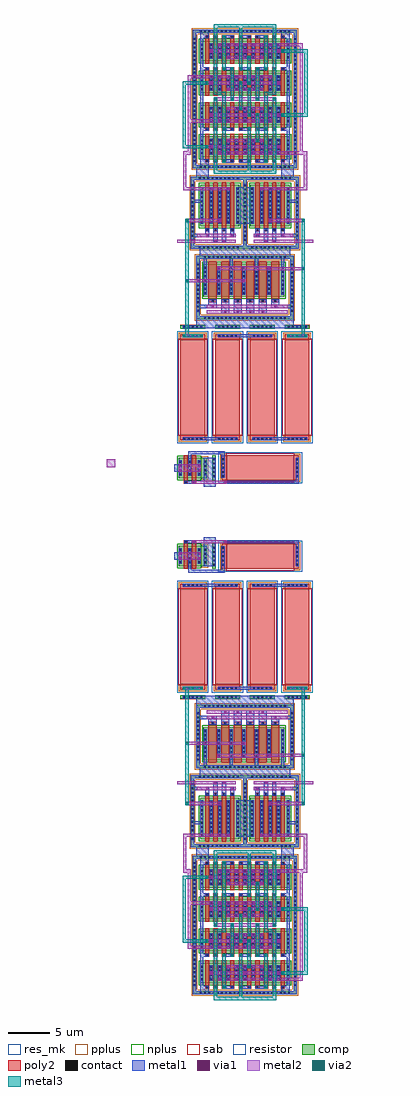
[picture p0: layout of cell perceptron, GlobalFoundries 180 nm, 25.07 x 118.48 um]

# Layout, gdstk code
from math import pi, radians
import gdstk
lib = gdstk.Library(unit=1e-6, precision=5e-09)
def R(c, l, rs):  # rectangles x0, y0, x1, y1
    for r in rs: c.add(gdstk.rectangle(r[:2], r[2:], *l))
def A(c, l, x, y, w, h, nx, ny, dx, dy):  # array of equal rectangles
    R(c, l, [(x+i*dx, y+j*dy, x+i*dx+w, y+j*dy+h) for i in range(nx) for j in range(ny)])
def P(c, l, *ps):  # polygons
    for p in ps: c.add(gdstk.Polygon(p, *l))
comp = (22, 0)
poly2 = (30, 0)
pplus = (31, 0)
nplus = (32, 0)
contact = (33, 0)
metal1 = (34, 0)
via1 = (35, 0)
metal2 = (36, 0)
via2 = (38, 0)
metal3 = (42, 0)
sab = (49, 0)
resistor = (62, 0)
res_mk = (110, 5)

ppolyf_u_high_rs_resisto = lib.new_cell('ppolyf_u_high_Rs_resistor')
R(ppolyf_u_high_rs_resisto, comp, [(-1.76,0,-1.34,3)])
R(ppolyf_u_high_rs_resisto, poly2, [(-0.64,0,8.74,3)])
R(ppolyf_u_high_rs_resisto, pplus, [(-0.82,-0.18,0,3.18), (8.1,-0.18,8.92,3.18), (-1.78,-0.02,-1.32,3.02)])
A(ppolyf_u_high_rs_resisto, contact, -1.66, 0.37, 0.22, 0.22, 1, 5, 0, 0.51)
A(ppolyf_u_high_rs_resisto, contact, -0.57, 0.37, 0.22, 0.22, 1, 5, 0, 0.51)
A(ppolyf_u_high_rs_resisto, contact, 8.45, 0.37, 0.22, 0.22, 1, 5, 0, 0.51)
R(ppolyf_u_high_rs_resisto, metal1, [(-1.74,0.29,-1.36,2.71), (-0.65,0.29,-0.27,2.71), (8.37,0.29,8.75,2.71)])
R(ppolyf_u_high_rs_resisto, sab, [(-0.1,-0.28,8.2,3.28)])
R(ppolyf_u_high_rs_resisto, resistor, [(-1.04,-0.4,9.14,3.4)])
R(ppolyf_u_high_rs_resisto, res_mk, [(0,0,8.1,3)])

nfet = lib.new_cell('nfet')
R(nfet, comp, [(-0.42,0,0,2.5), (0,0,1.9,2.5), (1.9,0,2.32,2.5), (2.32,0,3.03,2.5)])
R(nfet, poly2, [(0.19,-0.66,0.69,-0.3), (1.21,-0.66,1.71,-0.3), (0.19,-0.3,0.69,2.8), (1.21,-0.3,1.71,2.8)])
R(nfet, pplus, [(2.32,-0.17,3.2,2.67)])
R(nfet, nplus, [(-0.59,-0.24,2.32,2.74)])
A(nfet, contact, -0.32, 0.375, 0.22, 0.22, 3, 4, 1.16, 0.51)
A(nfet, contact, 2.71, 0.375, 0.22, 0.22, 1, 4, 0, 0.51)
R(nfet, contact, [(0.33,-0.59,0.55,-0.37), (1.35,-0.59,1.57,-0.37)])
A(nfet, metal1, -0.4, 0.295, 0.38, 1.91, 3, 1, 1.16, 0)
R(nfet, metal1, [(0.25,-0.67,0.63,-0.29), (1.27,-0.67,1.65,-0.29), (2.63,0.295,3.01,2.205)])

cg_amp_tia = lib.new_cell('cg_amp_tia')
R(cg_amp_tia, metal1, [(4.52,1.5,5.97,5.03), (2.14,1.865,3.54,2.245), (0.92,3.32,1.87,4.23)])
R(cg_amp_tia, via1, [(3.22,1.93,3.48,2.19), (7,1.93,7.26,2.19), (1.55,3.4,1.81,3.66), (3.87,3.4,4.13,3.66), (1.55,3.92,1.81,4.18), (3.87,3.92,4.13,4.18)])
R(cg_amp_tia, metal2, [(3.16,1.86,7.32,2.245), (1.49,3.32,4.19,4.23)])
cg_amp_tia.add(gdstk.FlexPath([(6.87,5.03),(6.87,5.63),(2.84,5.63),(2.84,4.74)], 0.38, ends="flush", simple_path=True, layer=34, datatype=0))  # metal1
cg_amp_tia.add(gdstk.FlexPath([(15.89,2.61),(15.89,2.05),(6.91,2.05)], 0.38, ends="flush", simple_path=True, layer=34, datatype=0))  # metal1
cg_amp_tia.add(gdstk.Reference(ppolyf_u_high_rs_resisto, (7.33,2.32)))
cg_amp_tia.add(gdstk.Reference(nfet, (1.89,2.535)))
cg_amp_tia.add(gdstk.Label('VSS', (5.25,1.64), layer=34, texttype=10))
cg_amp_tia.add(gdstk.Label('V_ref', (15.89,2.05), layer=34, texttype=10))
cg_amp_tia.add(gdstk.Label('V_out', (4.74,5.63), layer=34, texttype=10))
cg_amp_tia.add(gdstk.Label('I_in', (1.03,3.77), layer=34, texttype=10))

c_ppolyf_u_high_rs_resisto = lib.new_cell('ppolyf_u_high_Rs_resistor$1')
R(c_ppolyf_u_high_rs_resisto, comp, [(-1.76,0,-1.34,3)])
R(c_ppolyf_u_high_rs_resisto, poly2, [(-0.64,0,12.19,3)])
R(c_ppolyf_u_high_rs_resisto, pplus, [(-0.82,-0.18,0,3.18), (11.55,-0.18,12.37,3.18), (-1.78,-0.02,-1.32,3.02)])
A(c_ppolyf_u_high_rs_resisto, contact, -1.66, 0.37, 0.22, 0.22, 1, 5, 0, 0.51)
A(c_ppolyf_u_high_rs_resisto, contact, -0.57, 0.37, 0.22, 0.22, 1, 5, 0, 0.51)
A(c_ppolyf_u_high_rs_resisto, contact, 11.9, 0.37, 0.22, 0.22, 1, 5, 0, 0.51)
R(c_ppolyf_u_high_rs_resisto, metal1, [(-1.74,0.29,-1.36,2.71), (-0.65,0.29,-0.27,2.71), (11.82,0.29,12.2,2.71)])
R(c_ppolyf_u_high_rs_resisto, sab, [(-0.1,-0.28,11.65,3.28)])
R(c_ppolyf_u_high_rs_resisto, resistor, [(-1.04,-0.4,12.59,3.4)])
R(c_ppolyf_u_high_rs_resisto, res_mk, [(0,0,11.55,3)])

via_dev = lib.new_cell('via_dev')
R(via_dev, metal1, [(0,0,0.4,0.4)])
R(via_dev, via1, [(0.07,0.07,0.33,0.33)])
R(via_dev, metal2, [(0,0,0.4,0.4)])
R(via_dev, via2, [(0.07,0.07,0.33,0.33)])
R(via_dev, metal3, [(0,0,0.4,0.4)])

nfet_1 = lib.new_cell('nfet$1')
R(nfet_1, comp, [(-0.42,0,0,5), (0,0,3.94,5), (3.94,0,4.36,5)])
P(nfet_1, comp, [(-1.28,-2.74),(-1.28,5.61),(-0.9,5.61),(-0.9,-2.36),(5.09,-2.36),(5.09,5.61),(-1.28,5.61),(-1.28,5.99),(5.47,5.99),(5.47,-2.74)])
A(nfet_1, poly2, 0.19, -0.66, 0.5, 0.36, 4, 1, 1.02, 0)
A(nfet_1, poly2, 0.19, -0.3, 0.5, 5.6, 4, 1, 1.02, 0)
P(nfet_1, pplus, [(-1.45,-2.91),(-1.45,5.44),(-0.73,5.44),(-0.73,-2.19),(4.92,-2.19),(4.92,5.44),(-1.45,5.44),(-1.45,6.16),(5.64,6.16),(5.64,-2.91)])
R(nfet_1, nplus, [(-0.59,-0.24,4.53,5.24)])
A(nfet_1, contact, -0.31, -2.66, 0.22, 0.22, 10, 2, 0.51, 8.35)
A(nfet_1, contact, -1.2, -1.8, 0.22, 0.22, 1, 14, 0, 0.51)
A(nfet_1, contact, 5.17, -1.8, 0.22, 0.22, 1, 14, 0, 0.51)
A(nfet_1, contact, 0.33, -0.59, 0.22, 0.22, 4, 1, 1.02, 0)
A(nfet_1, contact, -0.32, 0.35, 0.22, 0.22, 1, 9, 0, 0.51)
A(nfet_1, contact, 0.84, 0.35, 0.22, 0.22, 3, 9, 1.02, 0.51)
A(nfet_1, contact, 4.04, 0.35, 0.22, 0.22, 1, 9, 0, 0.51)
A(nfet_1, metal1, 0.25, -0.67, 0.38, 0.38, 4, 1, 1.02, 0)
A(nfet_1, metal1, 0.76, 0.27, 0.38, 4.46, 3, 1, 1.02, 0)
R(nfet_1, metal1, [(1.21,-2.05,1.71,-0.29), (2.23,-2.05,2.73,-0.29), (0.19,-1.36,0.69,-0.29), (3.25,-1.36,3.75,-0.29), (-0.4,0.27,-0.02,4.73), (3.96,0.27,4.34,4.73)])
R(nfet_1, via1, [(1.33,-1.98,1.59,-1.72), (2.35,-1.98,2.61,-1.72), (0.31,-1.29,0.57,-1.03), (3.37,-1.29,3.63,-1.03)])
R(nfet_1, metal2, [(0,-2.05,4.78,-1.65), (0,-1.36,4.78,-0.96)])

nfet_2 = lib.new_cell('nfet$2')
R(nfet_2, comp, [(-0.42,0,0,4), (0,0,8.98,4), (8.98,0,9.4,4)])
P(nfet_2, comp, [(-1.28,-2.74),(-1.28,4.61),(-0.9,4.61),(-0.9,-2.36),(10.13,-2.36),(10.13,4.61),(-1.28,4.61),(-1.28,4.99),(10.51,4.99),(10.51,-2.74)])
A(nfet_2, poly2, 0.19, -0.66, 1, 0.36, 6, 1, 1.52, 0)
A(nfet_2, poly2, 0.19, -0.3, 1, 4.6, 6, 1, 1.52, 0)
P(nfet_2, pplus, [(-1.45,-2.91),(-1.45,4.44),(-0.73,4.44),(-0.73,-2.19),(9.96,-2.19),(9.96,4.44),(-1.45,4.44),(-1.45,5.16),(10.68,5.16),(10.68,-2.91)])
R(nfet_2, nplus, [(-0.59,-0.24,9.57,4.24)])
A(nfet_2, contact, -0.34, -2.66, 0.22, 0.22, 20, 2, 0.51, 7.35)
A(nfet_2, contact, -1.2, -1.79, 0.22, 0.22, 1, 12, 0, 0.51)
A(nfet_2, contact, 10.21, -1.79, 0.22, 0.22, 1, 12, 0, 0.51)
A(nfet_2, contact, 0.58, -0.59, 0.22, 0.22, 6, 1, 1.52, 0)
A(nfet_2, contact, -0.32, 0.36, 0.22, 0.22, 1, 7, 0, 0.51)
A(nfet_2, contact, 1.34, 0.36, 0.22, 0.22, 5, 7, 1.52, 0.51)
A(nfet_2, contact, 9.08, 0.36, 0.22, 0.22, 1, 7, 0, 0.51)
A(nfet_2, metal1, 1.71, -2.05, 1, 1.76, 4, 1, 1.52, 0)
A(nfet_2, metal1, 0.5, -0.67, 0.38, 0.38, 6, 1, 1.52, 0)
A(nfet_2, metal1, 1.26, 0.28, 0.38, 3.44, 5, 1, 1.52, 0)
R(nfet_2, metal1, [(0.19,-1.36,1.19,-0.29), (7.79,-1.36,8.79,-0.29), (-0.4,0.28,-0.02,3.72), (9,0.28,9.38,3.72)])
A(nfet_2, via1, 2.08, -1.98, 0.26, 0.26, 4, 1, 1.52, 0)
R(nfet_2, via1, [(0.56,-1.29,0.82,-1.03), (8.16,-1.29,8.42,-1.03)])
R(nfet_2, metal2, [(0,-2.05,9.82,-1.65), (0,-1.36,9.82,-0.96)])

gilbert_multiplier_curre = lib.new_cell('gilbert_multiplier_current')
A(gilbert_multiplier_curre, comp, 8.68, 36.7, 0.42, 2.5, 1, 4, 0, 3.87)
A(gilbert_multiplier_curre, comp, 9.1, 36.7, 10.06, 2.5, 1, 4, 0, 3.87)
A(gilbert_multiplier_curre, comp, 19.16, 36.7, 0.42, 2.5, 1, 4, 0, 3.87)
P(gilbert_multiplier_curre, comp, [(7.82,35.31),(7.82,51.785),(8.2,51.785),(8.2,35.69),(20.06,35.69),(20.06,51.785),(7.82,51.785),(7.82,52.165),(20.44,52.165),(20.44,35.31)])
A(gilbert_multiplier_curre, poly2, 9.29, 36.04, 0.5, 0.36, 10, 2, 1.02, 3.87)
A(gilbert_multiplier_curre, poly2, 9.29, 36.4, 0.5, 3.1, 10, 4, 1.02, 3.87)
A(gilbert_multiplier_curre, poly2, 9.29, 47.24, 0.5, 0.36, 10, 2, 1.02, 3.87)
P(gilbert_multiplier_curre, pplus, [(7.65,35.14),(7.65,51.615),(8.37,51.615),(8.37,35.86),(19.89,35.86),(19.89,51.615),(7.65,51.615),(7.65,52.335),(20.61,52.335),(20.61,35.14)])
A(gilbert_multiplier_curre, nplus, 8.51, 36.46, 11.24, 2.98, 1, 4, 0, 3.87)
A(gilbert_multiplier_curre, contact, 8.665, 35.39, 0.22, 0.22, 22, 2, 0.51, 16.475)
A(gilbert_multiplier_curre, contact, 7.9, 36.1, 0.22, 0.22, 1, 23, 0, 0.51)
A(gilbert_multiplier_curre, contact, 20.14, 36.1, 0.22, 0.22, 1, 23, 0, 0.51)
A(gilbert_multiplier_curre, contact, 9.43, 36.11, 0.22, 0.22, 10, 2, 1.02, 3.87)
A(gilbert_multiplier_curre, contact, 8.78, 37.075, 0.22, 0.22, 1, 4, 0, 0.51)
A(gilbert_multiplier_curre, contact, 9.94, 37.075, 0.22, 0.22, 9, 4, 1.02, 0.51)
A(gilbert_multiplier_curre, contact, 19.26, 37.075, 0.22, 0.22, 1, 4, 0, 0.51)
A(gilbert_multiplier_curre, contact, 8.78, 40.945, 0.22, 0.22, 1, 4, 0, 0.51)
A(gilbert_multiplier_curre, contact, 9.94, 40.945, 0.22, 0.22, 9, 4, 1.02, 0.51)
A(gilbert_multiplier_curre, contact, 19.26, 40.945, 0.22, 0.22, 1, 4, 0, 0.51)
A(gilbert_multiplier_curre, contact, 8.78, 44.815, 0.22, 0.22, 1, 4, 0, 0.51)
A(gilbert_multiplier_curre, contact, 9.94, 44.815, 0.22, 0.22, 9, 4, 1.02, 0.51)
A(gilbert_multiplier_curre, contact, 19.26, 44.815, 0.22, 0.22, 1, 4, 0, 0.51)
A(gilbert_multiplier_curre, contact, 9.43, 47.31, 0.22, 0.22, 10, 2, 1.02, 3.87)
A(gilbert_multiplier_curre, contact, 7.9, 47.85, 0.22, 0.22, 1, 7, 0, 0.51)
A(gilbert_multiplier_curre, contact, 20.14, 47.85, 0.22, 0.22, 1, 7, 0, 0.51)
A(gilbert_multiplier_curre, contact, 8.78, 48.685, 0.22, 0.22, 1, 4, 0, 0.51)
A(gilbert_multiplier_curre, contact, 9.94, 48.685, 0.22, 0.22, 9, 4, 1.02, 0.51)
A(gilbert_multiplier_curre, contact, 19.26, 48.685, 0.22, 0.22, 1, 4, 0, 0.51)
A(gilbert_multiplier_curre, metal1, 9.35, 36.03, 0.38, 0.38, 10, 2, 1.02, 3.87)
A(gilbert_multiplier_curre, metal1, 8.7, 36.995, 0.38, 1.91, 1, 4, 0, 3.87)
A(gilbert_multiplier_curre, metal1, 9.86, 36.995, 0.38, 1.91, 9, 4, 1.02, 3.87)
A(gilbert_multiplier_curre, metal1, 19.18, 36.995, 0.38, 1.91, 1, 4, 0, 3.87)
A(gilbert_multiplier_curre, metal1, 9.35, 47.23, 0.38, 0.38, 10, 2, 1.02, 3.87)
R(gilbert_multiplier_curre, metal1, [(6.59,2.33,13.23,2.71), (15.03,2.33,21.67,2.71), (10.81,14.8,17.45,15.18), (6.59,15.89,21.67,16.27), (8.235,15.89,20.025,17.36), (8.615,24.33,19.645,25.96), (13.06,28.59,15.2,33.05), (8.2,33.93,9.73,35.69), (18.53,33.93,20.06,35.69), (8.7,35.31,9.73,36.41), (18.53,35.31,19.56,36.41), (8.7,51.1,9.73,52.165), (18.53,51.1,19.56,52.165)])
A(gilbert_multiplier_curre, via1, 6.65, 14.86, 0.26, 0.26, 3, 1, 1.02, 0)
A(gilbert_multiplier_curre, via1, 19.31, 14.86, 0.26, 0.26, 3, 1, 1.02, 0)
A(gilbert_multiplier_curre, via1, 10.94, 37.055, 0.26, 0.26, 4, 2, 2.04, 3.865)
A(gilbert_multiplier_curre, via1, 9.92, 37.82, 0.26, 0.26, 3, 2, 4.08, 3.865)
A(gilbert_multiplier_curre, via1, 9.92, 45.56, 0.26, 0.26, 3, 2, 4.08, 3.87)
A(gilbert_multiplier_curre, via1, 10.94, 46.325, 0.26, 0.26, 4, 2, 2.04, 3.87)
R(gilbert_multiplier_curre, via1, [(14.13,21.56,14.39,21.82), (11.08,23.03,11.34,23.29), (17.17,23.03,17.43,23.29), (10.94,28.86,11.2,29.12), (17.05,28.86,17.31,29.12), (9.92,32.73,10.18,32.99), (11.96,32.73,12.22,32.99), (16.04,32.73,16.3,32.99), (18.08,32.73,18.34,32.99), (11.96,38.58,12.22,38.84), (16.04,38.58,16.3,38.84), (11.96,42.445,12.22,42.705), (16.04,42.445,16.3,42.705), (11.96,44.8,12.22,45.06), (16.04,44.8,16.3,45.06), (11.96,48.67,12.22,48.93), (16.04,48.67,16.3,48.93)])
R(gilbert_multiplier_curre, metal2, [(6.59,14.8,9.01,15.18), (19.25,14.8,21.67,15.18), (11.025,22.93,17.485,23.44), (9.86,32.65,12.28,33.05), (15.98,32.65,18.4,33.05)])
A(gilbert_multiplier_curre, via2, 6.65, 14.86, 0.26, 0.26, 3, 1, 1.02, 0)
A(gilbert_multiplier_curre, via2, 19.31, 14.86, 0.26, 0.26, 3, 1, 1.02, 0)
R(gilbert_multiplier_curre, via2, [(21.04,21.55,21.3,21.81), (6.915,23.02,7.175,23.28), (6.915,28.86,7.175,29.12), (21.04,28.86,21.3,29.12), (18.63,37.82,18.89,38.08), (12.47,38.59,12.73,38.85), (9.39,41.68,9.65,41.94), (12.47,41.7,12.73,41.96), (13.48,41.7,13.74,41.96), (14.5,42.46,14.76,42.72), (10.45,43.61,10.71,43.87), (12.47,43.61,12.73,43.87), (15.53,43.61,15.79,43.87), (17.57,43.61,17.83,43.87), (13.48,44.8,13.74,45.06), (14.5,45.56,14.76,45.82), (13.49,45.57,13.75,45.83), (18.63,45.57,18.89,45.83), (13.49,48.67,13.75,48.93), (9.39,49.43,9.65,49.69)])
R(gilbert_multiplier_curre, metal3, [(6.59,14.8,9.01,15.18), (19.25,14.8,21.67,15.18)])
gilbert_multiplier_curre.add(gdstk.FlexPath([(9.35,36.22),(8.89,36.22),(8.89,51.29),(9.35,51.29),(9.35,51.29)], 0.38, ends="flush", simple_path=True, layer=34, datatype=0))  # metal1
gilbert_multiplier_curre.add(gdstk.FlexPath([(18.91,36.22),(19.37,36.22),(19.37,51.29),(18.91,51.29)], 0.38, ends="flush", simple_path=True, layer=34, datatype=0))  # metal1
gilbert_multiplier_curre.add(gdstk.FlexPath([(9.73,47.42),(8.7,47.42)], 0.38, ends="flush", simple_path=True, layer=34, datatype=0))  # metal1
gilbert_multiplier_curre.add(gdstk.FlexPath([(9.73,40.09),(8.7,40.09)], 0.38, ends="flush", simple_path=True, layer=34, datatype=0))  # metal1
gilbert_multiplier_curre.add(gdstk.FlexPath([(18.53,47.42),(19.56,47.42)], 0.38, ends="flush", simple_path=True, layer=34, datatype=0))  # metal1
gilbert_multiplier_curre.add(gdstk.FlexPath([(18.53,40.09),(19.56,40.09)], 0.38, ends="flush", simple_path=True, layer=34, datatype=0))  # metal1
gilbert_multiplier_curre.add(gdstk.FlexPath([(11.39,51.29),(12.79,51.29)], 0.38, ends="flush", simple_path=True, layer=34, datatype=0))  # metal1
gilbert_multiplier_curre.add(gdstk.FlexPath([(15.47,51.29),(16.87,51.29)], 0.38, ends="flush", simple_path=True, layer=34, datatype=0))  # metal1
gilbert_multiplier_curre.add(gdstk.FlexPath([(11.39,47.42),(12.79,47.42)], 0.38, ends="flush", simple_path=True, layer=34, datatype=0))  # metal1
gilbert_multiplier_curre.add(gdstk.FlexPath([(15.47,47.42),(16.87,47.42)], 0.38, ends="flush", simple_path=True, layer=34, datatype=0))  # metal1
gilbert_multiplier_curre.add(gdstk.FlexPath([(11.39,40.09),(12.79,40.09)], 0.38, ends="flush", simple_path=True, layer=34, datatype=0))  # metal1
gilbert_multiplier_curre.add(gdstk.FlexPath([(16.87,40.09),(15.47,40.09)], 0.38, ends="flush", simple_path=True, layer=34, datatype=0))  # metal1
gilbert_multiplier_curre.add(gdstk.FlexPath([(11.39,36.22),(12.79,36.22),(12.79,36.22)], 0.38, ends="flush", simple_path=True, layer=34, datatype=0))  # metal1
gilbert_multiplier_curre.add(gdstk.FlexPath([(13.43,36.22),(14.83,36.22)], 0.38, ends="flush", simple_path=True, layer=34, datatype=0))  # metal1
gilbert_multiplier_curre.add(gdstk.FlexPath([(15.47,36.22),(16.87,36.22)], 0.38, ends="flush", simple_path=True, layer=34, datatype=0))  # metal1
gilbert_multiplier_curre.add(gdstk.FlexPath([(13.43,40.09),(14.83,40.09)], 0.38, ends="flush", simple_path=True, layer=34, datatype=0))  # metal1
gilbert_multiplier_curre.add(gdstk.FlexPath([(13.43,47.42),(14.83,47.42)], 0.38, ends="flush", simple_path=True, layer=34, datatype=0))  # metal1
gilbert_multiplier_curre.add(gdstk.FlexPath([(13.43,51.29),(14.83,51.29)], 0.38, ends="flush", simple_path=True, layer=34, datatype=0))  # metal1
gilbert_multiplier_curre.add(gdstk.FlexPath([(8.665,51.975),(20.25,51.975),(20.25,35.5),(8.01,35.5),(8.01,51.975),(8.665,51.975)], 0.38, ends="flush", simple_path=True, layer=34, datatype=0))  # metal1
gilbert_multiplier_curre.add(gdstk.FlexPath([(14.13,33.93),(14.13,25.96)], 0.38, ends="flush", simple_path=True, layer=34, datatype=0))  # metal1
gilbert_multiplier_curre.add(gdstk.FlexPath([(7.76,33.37),(7.76,25.77),(20.5,25.77),(20.5,34.12),(7.76,34.12),(7.76,33.37)], 0.38, ends="flush", simple_path=True, layer=34, datatype=0))  # metal1
gilbert_multiplier_curre.add(gdstk.FlexPath([(9.79,27.16),(7.57,27.16)], 0.4, ends="flush", simple_path=True, layer=34, datatype=0))  # metal1
gilbert_multiplier_curre.add(gdstk.FlexPath([(18.47,27.16),(20.69,27.16)], 0.4, ends="flush", simple_path=True, layer=34, datatype=0))  # metal1
gilbert_multiplier_curre.add(gdstk.FlexPath([(8.7,31.33),(7.95,31.33)], 0.4, ends="flush", simple_path=True, layer=34, datatype=0))  # metal1
gilbert_multiplier_curre.add(gdstk.FlexPath([(19.56,31.33),(20.31,31.33)], 0.4, ends="flush", simple_path=True, layer=34, datatype=0))  # metal1
gilbert_multiplier_curre.add(gdstk.FlexPath([(18.955,23.44),(18.955,24.33)], 0.38, ends="flush", simple_path=True, layer=34, datatype=0))  # metal1
gilbert_multiplier_curre.add(gdstk.FlexPath([(9.555,23.44),(9.555,24.33)], 0.38, ends="flush", simple_path=True, layer=34, datatype=0))  # metal1
gilbert_multiplier_curre.add(gdstk.FlexPath([(15.775,23.44),(15.775,24.33)], 0.38, ends="flush", simple_path=True, layer=34, datatype=0))  # metal1
gilbert_multiplier_curre.add(gdstk.FlexPath([(12.735,23.44),(12.735,24.33)], 0.38, ends="flush", simple_path=True, layer=34, datatype=0))  # metal1
gilbert_multiplier_curre.add(gdstk.FlexPath([(10.955,18.56),(8.615,18.56)], 0.4, ends="flush", simple_path=True, layer=34, datatype=0))  # metal1
gilbert_multiplier_curre.add(gdstk.FlexPath([(8.425,17.93),(8.425,24.52),(19.835,24.52),(19.835,17.17),(9.175,17.17),(9.175,17.17),(8.425,17.17),(8.425,17.93)], 0.38, ends="flush", simple_path=True, layer=34, datatype=0))  # metal1
gilbert_multiplier_curre.add(gdstk.FlexPath([(20.025,18.56),(17.555,18.56)], 0.4, ends="flush", simple_path=True, layer=34, datatype=0))  # metal1
gilbert_multiplier_curre.add(gdstk.FlexPath([(10.88,50.32),(17.38,50.32)], 0.4, ends="flush", simple_path=True, layer=36, datatype=0))  # metal2
gilbert_multiplier_curre.add(gdstk.FlexPath([(9.29,49.56),(18.4,49.56)], 0.4, ends="flush", simple_path=True, layer=36, datatype=0))  # metal2
gilbert_multiplier_curre.add(gdstk.FlexPath([(11.9,48.8),(16.36,48.8)], 0.4, ends="flush", simple_path=True, layer=36, datatype=0))  # metal2
gilbert_multiplier_curre.add(gdstk.FlexPath([(10.88,46.45),(17.38,46.45)], 0.4, ends="flush", simple_path=True, layer=36, datatype=0))  # metal2
gilbert_multiplier_curre.add(gdstk.FlexPath([(9.86,45.69),(18.97,45.69)], 0.4, ends="flush", simple_path=True, layer=36, datatype=0))  # metal2
gilbert_multiplier_curre.add(gdstk.FlexPath([(11.9,44.93),(16.36,44.93)], 0.4, ends="flush", simple_path=True, layer=36, datatype=0))  # metal2
gilbert_multiplier_curre.add(gdstk.FlexPath([(9.86,37.95),(18.97,37.95)], 0.4, ends="flush", simple_path=True, layer=36, datatype=0))  # metal2
gilbert_multiplier_curre.add(gdstk.FlexPath([(11.9,38.71),(16.36,38.71)], 0.4, ends="flush", simple_path=True, layer=36, datatype=0))  # metal2
gilbert_multiplier_curre.add(gdstk.FlexPath([(10.88,41.06),(17.38,41.06)], 0.4, ends="flush", simple_path=True, layer=36, datatype=0))  # metal2
gilbert_multiplier_curre.add(gdstk.FlexPath([(9.29,41.82),(18.4,41.82)], 0.4, ends="flush", simple_path=True, layer=36, datatype=0))  # metal2
gilbert_multiplier_curre.add(gdstk.FlexPath([(11.9,42.58),(16.36,42.58)], 0.4, ends="flush", simple_path=True, layer=36, datatype=0))  # metal2
gilbert_multiplier_curre.add(gdstk.FlexPath([(17.38,46.45),(20.9,46.45),(20.9,41.06),(17.38,41.06)], 0.4, ends="flush", simple_path=True, layer=36, datatype=0))  # metal2
gilbert_multiplier_curre.add(gdstk.FlexPath([(10.88,50.32),(7.3,50.32),(7.3,37.19),(10.88,37.19)], 0.4, ends="flush", simple_path=True, layer=36, datatype=0))  # metal2
gilbert_multiplier_curre.add(gdstk.FlexPath([(10.36,43.74),(17.9,43.74)], 0.4, ends="flush", simple_path=True, layer=36, datatype=0))  # metal2
gilbert_multiplier_curre.add(gdstk.FlexPath([(10.88,37.19),(17.38,37.19)], 0.4, ends="flush", simple_path=True, layer=36, datatype=0))  # metal2
gilbert_multiplier_curre.add(gdstk.FlexPath([(20.9,40.86),(20.9,37)], 0.4, ends="flush", simple_path=True, layer=36, datatype=0))  # metal2
gilbert_multiplier_curre.add(gdstk.FlexPath([(18.4,32.85),(21.44,32.85),(21.44,37.2),(21.1,37.2)], 0.4, ends="flush", simple_path=True, layer=36, datatype=0))  # metal2
gilbert_multiplier_curre.add(gdstk.FlexPath([(9.86,32.85),(6.79,32.85),(6.79,37.19),(7.1,37.19)], 0.4, ends="flush", simple_path=True, layer=36, datatype=0))  # metal2
gilbert_multiplier_curre.add(gdstk.FlexPath([(11.025,23.15),(6.85,23.15)], 0.4, ends="flush", simple_path=True, layer=36, datatype=0))  # metal2
gilbert_multiplier_curre.add(gdstk.FlexPath([(14.065,21.69),(21.37,21.69)], 0.4, ends="flush", simple_path=True, layer=36, datatype=0))  # metal2
gilbert_multiplier_curre.add(gdstk.FlexPath([(11.26,28.99),(6.85,28.99)], 0.4, ends="flush", simple_path=True, layer=36, datatype=0))  # metal2
gilbert_multiplier_curre.add(gdstk.FlexPath([(17,28.99),(21.37,28.99)], 0.4, ends="flush", simple_path=True, layer=36, datatype=0))  # metal2
gilbert_multiplier_curre.add(gdstk.FlexPath([(8.26,26.47),(5.84,26.47)], 0.4, ends="flush", simple_path=True, layer=36, datatype=0))  # metal2
gilbert_multiplier_curre.add(gdstk.FlexPath([(20,26.47),(22.35,26.47)], 0.4, ends="flush", simple_path=True, layer=36, datatype=0))  # metal2
gilbert_multiplier_curre.add(gdstk.FlexPath([(9.71,49.56),(6.73,49.56),(6.73,41.82),(9.71,41.82)], 0.4, ends="flush", simple_path=True, layer=42, datatype=0))  # metal3
gilbert_multiplier_curre.add(gdstk.FlexPath([(17.7,40.29),(17.7,36.02)], 0.4, ends="flush", simple_path=True, layer=42, datatype=0))  # metal3
gilbert_multiplier_curre.add(gdstk.FlexPath([(16.68,36.02),(16.68,40.29)], 0.4, ends="flush", simple_path=True, layer=42, datatype=0))  # metal3
gilbert_multiplier_curre.add(gdstk.FlexPath([(13.62,40.29),(13.62,36.02)], 0.4, ends="flush", simple_path=True, layer=42, datatype=0))  # metal3
gilbert_multiplier_curre.add(gdstk.FlexPath([(11.58,36.02),(11.58,40.29)], 0.4, ends="flush", simple_path=True, layer=42, datatype=0))  # metal3
gilbert_multiplier_curre.add(gdstk.FlexPath([(10.56,40.29),(10.56,36.02)], 0.4, ends="flush", simple_path=True, layer=42, datatype=0))  # metal3
gilbert_multiplier_curre.add(gdstk.FlexPath([(10.56,47.21),(10.56,51.49)], 0.4, ends="flush", simple_path=True, layer=42, datatype=0))  # metal3
gilbert_multiplier_curre.add(gdstk.FlexPath([(11.58,51.49),(11.58,47.21)], 0.4, ends="flush", simple_path=True, layer=42, datatype=0))  # metal3
gilbert_multiplier_curre.add(gdstk.FlexPath([(14.64,47.21),(14.64,51.49)], 0.4, ends="flush", simple_path=True, layer=42, datatype=0))  # metal3
gilbert_multiplier_curre.add(gdstk.FlexPath([(16.68,51.49),(16.68,47.21)], 0.4, ends="flush", simple_path=True, layer=42, datatype=0))  # metal3
gilbert_multiplier_curre.add(gdstk.FlexPath([(17.7,47.21),(17.7,51.49)], 0.4, ends="flush", simple_path=True, layer=42, datatype=0))  # metal3
gilbert_multiplier_curre.add(gdstk.FlexPath([(10.56,47.21),(10.56,44.44),(11.58,44.44),(11.58,40.29)], 0.4, ends="flush", simple_path=True, layer=42, datatype=0))  # metal3
gilbert_multiplier_curre.add(gdstk.FlexPath([(16.68,40.29),(16.68,44.44),(17.7,44.44),(17.7,47.21)], 0.4, ends="flush", simple_path=True, layer=42, datatype=0))  # metal3
gilbert_multiplier_curre.add(gdstk.FlexPath([(10.56,40.29),(10.56,43.94)], 0.4, ends="flush", simple_path=True, layer=42, datatype=0))  # metal3
gilbert_multiplier_curre.add(gdstk.FlexPath([(17.7,40.29),(17.7,43.94)], 0.4, ends="flush", simple_path=True, layer=42, datatype=0))  # metal3
gilbert_multiplier_curre.add(gdstk.FlexPath([(10.56,51.49),(10.56,52.65),(17.7,52.65),(17.7,51.49)], 0.4, ends="flush", simple_path=True, layer=42, datatype=0))  # metal3
gilbert_multiplier_curre.add(gdstk.FlexPath([(14.64,51.49),(14.64,52.45)], 0.4, ends="flush", simple_path=True, layer=42, datatype=0))  # metal3
gilbert_multiplier_curre.add(gdstk.FlexPath([(10.56,36.02),(10.56,34.86),(17.7,34.86),(17.7,36.02)], 0.4, ends="flush", simple_path=True, layer=42, datatype=0))  # metal3
gilbert_multiplier_curre.add(gdstk.FlexPath([(13.62,36.02),(13.62,35.06)], 0.4, ends="flush", simple_path=True, layer=42, datatype=0))  # metal3
gilbert_multiplier_curre.add(gdstk.FlexPath([(12.6,43.54),(12.6,47.6)], 0.4, ends="flush", simple_path=True, layer=42, datatype=0))  # metal3
gilbert_multiplier_curre.add(gdstk.FlexPath([(15.66,43.54),(15.66,47.6)], 0.4, ends="flush", simple_path=True, layer=42, datatype=0))  # metal3
gilbert_multiplier_curre.add(gdstk.FlexPath([(13.63,49),(13.63,45.49)], 0.4, ends="flush", simple_path=True, layer=42, datatype=0))  # metal3
gilbert_multiplier_curre.add(gdstk.FlexPath([(18.57,45.69),(21.51,45.69),(21.51,37.95),(18.57,37.95)], 0.4, ends="flush", simple_path=True, layer=42, datatype=0))  # metal3
gilbert_multiplier_curre.add(gdstk.FlexPath([(7.05,29.19),(7.05,22.95)], 0.4, ends="flush", simple_path=True, layer=42, datatype=0))  # metal3
gilbert_multiplier_curre.add(gdstk.FlexPath([(21.17,29.19),(21.17,21.49)], 0.4, ends="flush", simple_path=True, layer=42, datatype=0))  # metal3
gilbert_multiplier_curre.add(gdstk.FlexPath([(7.05,22.95),(7.05,15.18)], 0.4, ends="flush", simple_path=True, layer=42, datatype=0))  # metal3
gilbert_multiplier_curre.add(gdstk.FlexPath([(21.17,21.49),(21.17,15.18)], 0.4, ends="flush", simple_path=True, layer=42, datatype=0))  # metal3
gilbert_multiplier_curre.add(gdstk.FlexPath([(13.62,45.13),(13.62,41.62)], 0.4, ends="flush", simple_path=True, layer=42, datatype=0))  # metal3
gilbert_multiplier_curre.add(gdstk.FlexPath([(12.6,42.02),(12.6,38.51)], 0.4, ends="flush", simple_path=True, layer=42, datatype=0))  # metal3
gilbert_multiplier_curre.add(gdstk.FlexPath([(14.64,45.89),(14.64,42.38)], 0.4, ends="flush", simple_path=True, layer=42, datatype=0))  # metal3
gilbert_multiplier_curre.add(gdstk.Reference(c_ppolyf_u_high_rs_resisto, (10.52,14.53), rotation=3*pi/2))
gilbert_multiplier_curre.add(gdstk.Reference(c_ppolyf_u_high_rs_resisto, (14.74,14.53), rotation=3*pi/2))
gilbert_multiplier_curre.add(gdstk.Reference(c_ppolyf_u_high_rs_resisto, (18.96,14.53), rotation=3*pi/2))
gilbert_multiplier_curre.add(gdstk.Reference(c_ppolyf_u_high_rs_resisto, (6.3,14.53), rotation=3*pi/2))
gilbert_multiplier_curre.add(gdstk.Reference(via_dev, (16.48,51.09)))
gilbert_multiplier_curre.add(gdstk.Reference(via_dev, (14.44,51.09)))
gilbert_multiplier_curre.add(gdstk.Reference(via_dev, (11.38,51.09)))
gilbert_multiplier_curre.add(gdstk.Reference(via_dev, (17.5,51.09)))
gilbert_multiplier_curre.add(gdstk.Reference(via_dev, (10.36,51.09)))
gilbert_multiplier_curre.add(gdstk.Reference(via_dev, (14.84,47.21), rotation=pi, x_reflection=True))
gilbert_multiplier_curre.add(gdstk.Reference(via_dev, (17.9,47.21), rotation=pi, x_reflection=True))
gilbert_multiplier_curre.add(gdstk.Reference(via_dev, (10.76,47.21), rotation=pi, x_reflection=True))
gilbert_multiplier_curre.add(gdstk.Reference(via_dev, (16.48,39.89)))
gilbert_multiplier_curre.add(gdstk.Reference(via_dev, (13.42,39.89)))
gilbert_multiplier_curre.add(gdstk.Reference(via_dev, (11.38,39.89)))
gilbert_multiplier_curre.add(gdstk.Reference(via_dev, (17.5,39.89)))
gilbert_multiplier_curre.add(gdstk.Reference(via_dev, (10.36,39.89)))
gilbert_multiplier_curre.add(gdstk.Reference(via_dev, (11.78,36.02), rotation=pi, x_reflection=True))
gilbert_multiplier_curre.add(gdstk.Reference(via_dev, (13.82,36.02), rotation=pi, x_reflection=True))
gilbert_multiplier_curre.add(gdstk.Reference(via_dev, (16.88,36.02), rotation=pi, x_reflection=True))
gilbert_multiplier_curre.add(gdstk.Reference(via_dev, (10.76,36.02), rotation=pi, x_reflection=True))
gilbert_multiplier_curre.add(gdstk.Reference(via_dev, (17.9,36.02), rotation=pi, x_reflection=True))
gilbert_multiplier_curre.add(gdstk.Reference(nfet_1, (13.04,28.32), rotation=pi, x_reflection=True))
gilbert_multiplier_curre.add(gdstk.Reference(nfet_1, (15.22,28.32)))
gilbert_multiplier_curre.add(gdstk.Reference(nfet_2, (18.745,19.72), rotation=pi, x_reflection=True))
gilbert_multiplier_curre.add(gdstk.Reference(via_dev, (16.88,47.21), rotation=pi, x_reflection=True))
gilbert_multiplier_curre.add(gdstk.Reference(via_dev, (11.78,47.21), rotation=pi, x_reflection=True))
gilbert_multiplier_curre.add(gdstk.Reference(via_dev, (12.8,47.21), rotation=pi, x_reflection=True))
gilbert_multiplier_curre.add(gdstk.Reference(via_dev, (15.86,47.21), rotation=pi, x_reflection=True))
gilbert_multiplier_curre.add(gdstk.Label('VSS', (19.47,16.625), layer=34, texttype=10))
gilbert_multiplier_curre.add(gdstk.Label('V_tail', (11.085,17.87), layer=36, texttype=10))
gilbert_multiplier_curre.add(gdstk.Label('V_x_p', (6.34,26.47), layer=36, texttype=10))
gilbert_multiplier_curre.add(gdstk.Label('V_x_n', (22.08,26.47), layer=36, texttype=10))
gilbert_multiplier_curre.add(gdstk.Label('V_w_n', (16.23,34.86), layer=42, texttype=10))
gilbert_multiplier_curre.add(gdstk.Label('V_w_p', (14.355,52.65), layer=42, texttype=10))
gilbert_multiplier_curre.add(gdstk.Label('I_o_p', (21.51,41.72), layer=42, texttype=10))
gilbert_multiplier_curre.add(gdstk.Label('I_o_n', (6.73,45.41), layer=42, texttype=10))

perceptron = lib.new_cell('perceptron')
R(perceptron, metal2, [(1.55,16.95,2.55,17.95)])
perceptron.add(gdstk.Reference(cg_amp_tia, (8.795,13.07)))
perceptron.add(gdstk.Reference(gilbert_multiplier_curre, (32.455,17.91), rotation=pi, x_reflection=True))
perceptron.add(gdstk.Reference(cg_amp_tia, (8.795,9.965), x_reflection=True))
perceptron.add(gdstk.Reference(gilbert_multiplier_curre, (32.455,5.125), rotation=pi))

lib.write_gds('perceptron.gds')
